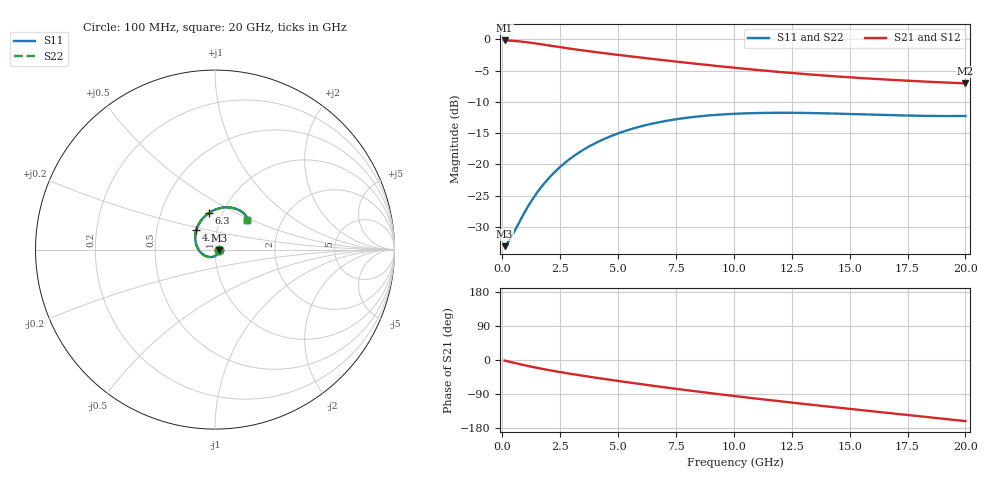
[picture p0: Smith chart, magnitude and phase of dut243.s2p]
! Created with skrf 1.9.0 (http://scikit-rf.org).
# GHz S RI R 50.0
!freq ReS11 ImS11 ReS21 ImS21 ReS12 ImS12 ReS22 ImS22
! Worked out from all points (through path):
!   200 points, 100 MHz to 20 GHz, reference 50 ohm
!   highest |S21| = -0.20 dB at 100 MHz (marker M1); lowest = -7.1 dB at 20 GHz (marker M2)
!   group delay of S21, straight-line fit = 21.2 ps
!   lowest |S11| = -33.1 dB at 100 MHz (marker M3), VSWR 1.05, Z = 52.2 - j0.52 ohm
!   |S11| at or under -10 dB: start of sweep to end of sweep
!   |S22| runs from -33.1 to -11.8 dB; largest |S21 - S12| = 1.9e-15
!   S11 on the Smith chart (normalised r, x): 100 MHz: 1.04, -0.01; 4.1 GHz: 0.79, +0.18; 6.3 GHz: 0.86, +0.37; 20 GHz: 1.34, +0.47
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0.1  0.0216 -0.00498  0.9773 -0.0259  0.9773 -0.0259  0.0216 -0.00498
0.2  0.0207 -0.0106  0.9751 -0.0509  0.9751 -0.0509  0.0207 -0.0106
0.4  0.016 -0.021  0.9674 -0.1002  0.9674 -0.1002  0.016 -0.021
1  -0.0133 -0.0404  0.9201 -0.2349  0.9201 -0.2349  -0.0133 -0.0404
1.4  -0.0389 -0.0401  0.8748 -0.3096  0.8748 -0.3096  -0.0389 -0.0401
1.8  -0.0634 -0.0297  0.8245 -0.3719  0.8245 -0.3719  -0.0634 -0.0297
2.2  -0.0837 -0.0116  0.7724 -0.4237  0.7724 -0.4237  -0.0837 -0.0116
2.6  -0.0984 0.0115  0.7203 -0.4669  0.7203 -0.4669  -0.0984 0.0115
3  -0.107 0.0373  0.6691 -0.5033  0.6691 -0.5033  -0.107 0.0373
3.5  -0.1101 0.0704  0.6064 -0.5412  0.6064 -0.5412  -0.1101 0.0704
4.1  -0.1041 0.1083  0.5332 -0.5774  0.5332 -0.5774  -0.1041 0.1083
5.1  -0.0778 0.1617  0.4154 -0.6192  0.4154 -0.6192  -0.0778 0.1617
6.3  -0.0317 0.2055  0.2821 -0.6431  0.2821 -0.6431  -0.0317 0.2055
6.8  -0.0109 0.2173  0.2297 -0.6458  0.2297 -0.6458  -0.0109 0.2173
8.3  0.0493 0.2345  0.0858 -0.6327  0.0858 -0.6327  0.0493 0.2345
10.1  0.1077 0.2299  -0.0582 -0.5867  -0.0582 -0.5867  0.1077 0.2299
11.7  0.1436 0.2145  -0.161 -0.529  -0.161 -0.529  0.1436 0.2145
13.4  0.1667 0.1955  -0.2479 -0.458  -0.2479 -0.458  0.1667 0.1955
15  0.1775 0.1798  -0.3119 -0.3857  -0.3119 -0.3857  0.1775 0.1798
16.7  0.1814 0.1684  -0.3634 -0.3053  -0.3634 -0.3053  0.1814 0.1684
18.3  0.181 0.1636  -0.3978 -0.2272  -0.3978 -0.2272  0.181 0.1636
20  0.1796 0.1647  -0.4199 -0.1428  -0.4199 -0.1428  0.1796 0.1647
